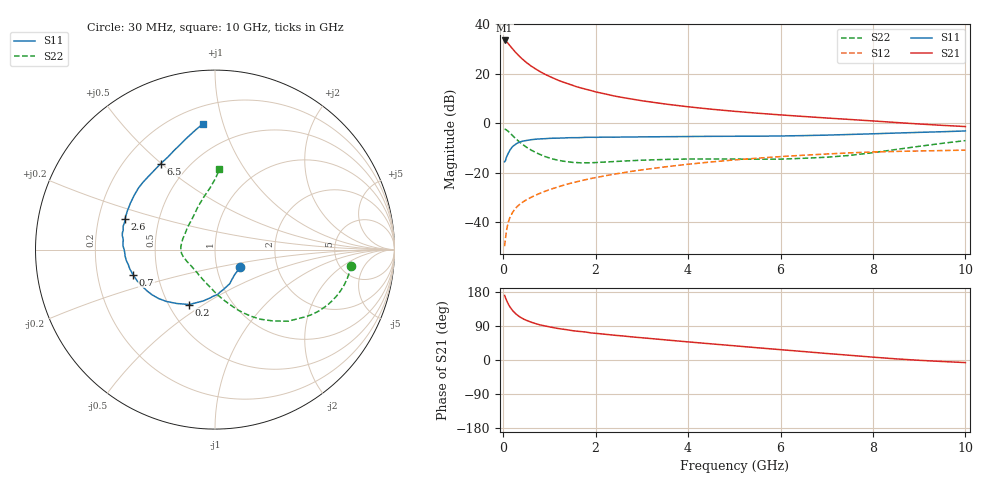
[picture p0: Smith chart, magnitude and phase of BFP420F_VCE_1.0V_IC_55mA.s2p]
! Infineon Technologies  Discrete & RF Semiconductors
! BFP420F
! VCE =  1.0 V,  IC =  55 mA
! Common Emitter S-Parameters:  Sep 2011
# GHz  S  MA  R  50
!  f  S11  S21  S12  S22
! GHz  MAG  ANG  MAG  ANG  MAG  ANG  MAG  ANG
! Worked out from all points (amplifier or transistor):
!   54 points, 30 MHz to 10 GHz, reference 50 ohm
!   highest |S21| = 33.5 dB at 30 MHz (marker M1)
!   |S21| within 3 dB of that: start of sweep to 185.4 MHz
!   unconditionally stable (mu >= 1): start of sweep to 47.13 MHz; 838.8 MHz to end of sweep
!   at 120 MHz: K = 0.64, MSG = 35.8 dB, |S12| = -39.5 dB
!   at 1.3 GHz: K = 1.12, MAG = 18.7 dB, |S12| = -25.0 dB
!   at 10 GHz: K = 1.25, MAG = 1.7 dB, |S12| = -10.8 dB
!   S11 on the Smith chart (normalised r, x): 30 MHz: 1.29, -0.25; 200 MHz: 0.63, -0.44; 700 MHz: 0.36, -0.13; 2.6 GHz: 0.32, +0.15; 6.5 GHz: 0.35, +0.50; 10 GHz: 0.31, +0.86
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0.03  0.1676 -34.5  47.42 170.5  0.0033 89.6  0.7606 -6.7
0.05  0.1766 -51.2  45.97 164.0  0.0048 84.4  0.7536 -12.6
0.07  0.2071 -66.6  44.81 158.2  0.0068 80.3  0.7362 -18.2
0.1  0.2388 -83.3  42 150.0  0.0091 76.0  0.702 -25.6
0.12  0.2605 -92.4  39.85 145.2  0.0106 73.8  0.6753 -30.1
0.15  0.2926 -102.6  36.78 139.3  0.0127 70.8  0.6331 -36.0
0.2  0.3383 -115.2  32.32 131.0  0.0158 67.8  0.5702 -44.4
0.25  0.3683 -125.4  28.43 124.4  0.0184 65.9  0.5123 -50.9
0.3  0.3958 -133.1  25.39 119.0  0.0208 64.2  0.4645 -56.7
0.4  0.4316 -144.3  20.49 110.8  0.0247 62.6  0.3884 -65.6
0.5  0.4508 -152.1  17.06 104.8  0.0285 62.2  0.3317 -72.8
0.7  0.478 -163.1  12.62 96.0  0.0354 62.3  0.2592 -85.2
0.9  0.4906 -170.3  9.865 90.0  0.0423 62.9  0.2145 -96.2
1.1  0.502 -175.9  8.098 85.1  0.0491 63.2  0.1877 -107.1
1.7  0.5179 172.7  5.146 74.8  0.0699 62.5  0.1589 -136.1
2.6  0.5297 161.0  3.312 63.3  0.1009 59.3  0.173 -160.8
3.5  0.5379 151.1  2.466 53.2  0.1322 54.4  0.1867 -172.5
5.5  0.5511 132.5  1.607 32.3  0.1981 40.7  0.189 160.4
6.5  0.5664 122.3  1.379 22.3  0.2272 33.2  0.1971 141.0
7  0.5789 116.9  1.284 17.2  0.2407 29.3  0.2071 130.7
8.5  0.6377 104.8  1.042 3.0  0.2713 17.3  0.297 102.5
10  0.7029 95.6  0.863 -6.8  0.288 8.4  0.4487 86.8
